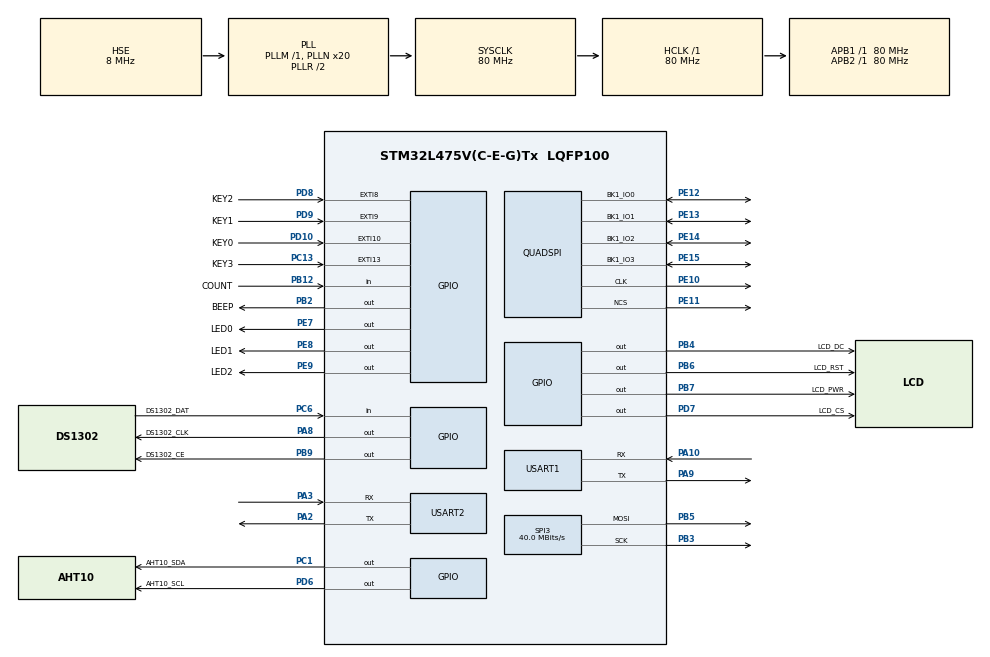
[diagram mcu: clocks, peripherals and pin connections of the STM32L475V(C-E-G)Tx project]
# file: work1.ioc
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FREERTOS.Tasks01=processInformat,0,128,processInformation,Default,NULL,Dynamic,NULL,NULL;countMed,-3,128,countMedicine,Default,NULL,Dynamic,NULL,NULL;StatusReport,-3,128,STM32_StatusReport,Default,NULL,Dynamic,NULL,NULL;time,-3,128,showTime,Default,NULL,Dynamic,NULL,NULL
Mcu.Family=STM32L4
Mcu.Name=STM32L475V(C-E-G)Tx
Mcu.Package=LQFP100
NVIC.EXTI15_10_IRQn=true\:5\:0\:false\:false\:true\:true\:true\:true
NVIC.EXTI9_5_IRQn=true\:5\:0\:false\:false\:true\:true\:true\:true
NVIC.PriorityGroup=NVIC_PRIORITYGROUP_4
NVIC.TIM1_UP_TIM16_IRQn=true\:15\:0\:false\:false\:true\:false\:false\:true
NVIC.TimeBase=TIM1_UP_TIM16_IRQn
NVIC.TimeBaseIP=TIM1
NVIC.USART1_IRQn=true\:5\:0\:false\:false\:true\:true\:true\:true
NVIC.USART2_IRQn=true\:5\:0\:false\:false\:true\:true\:true\:true
PA10.Mode=Asynchronous
PA10.Signal=USART1_RX
PA13\ (JTMS-SWDIO).Mode=Serial_Wire
PA13\ (JTMS-SWDIO).Signal=SYS_JTMS-SWDIO
PA14\ (JTCK-SWCLK).Mode=Serial_Wire
PA14\ (JTCK-SWCLK).Signal=SYS_JTCK-SWCLK
PA2.Mode=Asynchronous
PA2.Signal=USART2_TX
PA3.Mode=Asynchronous
PA3.Signal=USART2_RX
PA8.GPIO_Label=DS1302_CLK
PA8.GPIO_Speed=GPIO_SPEED_FREQ_HIGH
PA8.Signal=GPIO_Output
PA9.Mode=Asynchronous
PA9.Signal=USART1_TX
PB12.GPIO_Label=COUNT
PB12.GPIO_PuPd=GPIO_PULLDOWN
PB12.Signal=GPIO_Input
PB2.GPIO_Label=BEEP
PB2.GPIO_PuPd=GPIO_PULLDOWN
PB2.Signal=GPIO_Output
PB3\ (JTDO-TRACESWO).Mode=TX_Only_Simplex_Unidirect_Master
PB3\ (JTDO-TRACESWO).Signal=SPI3_SCK
PB4\ (NJTRST).GPIO_Label=LCD_DC
PB4\ (NJTRST).Signal=GPIO_Output
PB5.Mode=TX_Only_Simplex_Unidirect_Master
PB5.Signal=SPI3_MOSI
PB6.GPIO_Label=LCD_RST
PB6.Signal=GPIO_Output
PB7.GPIO_Label=LCD_PWR
PB7.Signal=GPIO_Output
PB9.GPIO_Label=DS1302_CE
PB9.GPIO_Speed=GPIO_SPEED_FREQ_HIGH
PB9.Signal=GPIO_Output
PC1.GPIO_Label=AHT10_SDA
PC1.Signal=GPIO_Output
PC13.GPIO_Label=KEY3
PC13.GPIO_ModeDefaultEXTI=GPIO_MODE_IT_FALLING
PC13.Signal=GPXTI13
PC6.GPIO_Label=DS1302_DAT
PC6.Signal=GPIO_Input
PD10.GPIO_Label=KEY0
PD10.GPIO_ModeDefaultEXTI=GPIO_MODE_IT_FALLING
PD10.Signal=GPXTI10
PD6.GPIO_Label=AHT10_SCL
PD6.Signal=GPIO_Output
PD7.GPIO_Label=LCD_CS
PD7.Signal=GPIO_Output
PD8.GPIO_Label=KEY2
PD8.GPIO_ModeDefaultEXTI=GPIO_MODE_IT_FALLING
PD8.Signal=GPXTI8
PD9.GPIO_Label=KEY1
PD9.GPIO_ModeDefaultEXTI=GPIO_MODE_IT_FALLING
PD9.Signal=GPXTI9
PE10.Mode=Single Bank
PE10.Signal=QUADSPI_CLK
PE11.Mode=Single Bank
PE11.Signal=QUADSPI_NCS
PE12.Mode=Single Bank
PE12.Signal=QUADSPI_BK1_IO0
PE13.Mode=Single Bank
PE13.Signal=QUADSPI_BK1_IO1
PE14.Mode=Single Bank
PE14.Signal=QUADSPI_BK1_IO2
PE15.Mode=Single Bank
PE15.Signal=QUADSPI_BK1_IO3
PE7.GPIO_Label=LED0
PE7.GPIO_Speed=GPIO_SPEED_FREQ_MEDIUM
PE7.PinState=GPIO_PIN_SET
PE7.Signal=GPIO_Output
PE8.GPIO_Label=LED1
PE8.GPIO_Speed=GPIO_SPEED_FREQ_MEDIUM
PE8.PinState=GPIO_PIN_SET
PE8.Signal=GPIO_Output
PE9.GPIO_Label=LED2
PE9.GPIO_Speed=GPIO_SPEED_FREQ_MEDIUM
PE9.PinState=GPIO_PIN_SET
PE9.Signal=GPIO_Output
PH0-OSC_IN\ (PH0).Mode=HSE-External-Oscillator
PH0-OSC_IN\ (PH0).Signal=RCC_OSC_IN
PH1-OSC_OUT\ (PH1).Mode=HSE-External-Oscillator
PH1-OSC_OUT\ (PH1).Signal=RCC_OSC_OUT
ProjectManager.HeapSize=0xA00
ProjectManager.StackSize=0xA00
ProjectManager.TargetToolchain=MDK-ARM V5.32
QUADSPI.ChipSelectHighTime-Single\ Bank=QSPI_CS_HIGH_TIME_4_CYCLE
QUADSPI.ClockPrescaler-Single\ Bank=0
QUADSPI.FifoThreshold-Single\ Bank=4
QUADSPI.SampleShifting-Single\ Bank=QSPI_SAMPLE_SHIFTING_HALFCYCLE
RCC.ADCFreq_Value=32000000
RCC.AHBFreq_Value=80000000
RCC.APB1Freq_Value=80000000
RCC.APB1TimFreq_Value=80000000
RCC.APB2Freq_Value=80000000
RCC.APB2TimFreq_Value=80000000
RCC.CortexFreq_Value=80000000
RCC.HCLKFreq_Value=80000000
RCC.HSE_VALUE=8000000
RCC.HSI_VALUE=16000000
RCC.LSE_VALUE=32768
RCC.MSI_VALUE=4000000
RCC.PLLN=20
RCC.PLLSourceVirtual=RCC_PLLSOURCE_HSE
RCC.RTCClockSelection=RCC_RTCCLKSOURCE_LSE
RCC.SYSCLKFreq_VALUE=80000000
RCC.SYSCLKSource=RCC_SYSCLKSOURCE_PLLCLK
RCC.USBFreq_Value=32000000
RCC.VCOOutputFreq_Value=160000000
SPI3.CLKPhase=SPI_PHASE_2EDGE
SPI3.CLKPolarity=SPI_POLARITY_HIGH
SPI3.CalculateBaudRate=40.0 MBits/s
SPI3.DataSize=SPI_DATASIZE_8BIT
SPI3.Direction=SPI_DIRECTION_2LINES
SPI3.Mode=SPI_MODE_MASTER
SPI3.VirtualType=VM_MASTER
USART1.VirtualMode-Asynchronous=VM_ASYNC
USART2.VirtualMode-Asynchronous=VM_ASYNC
VP_FREERTOS_VS_CMSIS_V1.Mode=CMSIS_V1
VP_SYS_VS_tim1.Mode=TIM1
board=custom

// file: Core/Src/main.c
/* USER CODE BEGIN Header */
/**
  ******************************************************************************
  * @file           : main.c
  * @brief          : Main program body
  ******************************************************************************
  * @attention
  *
  * <h2><center>&copy; Copyright (c) 2022 STMicroelectronics.
  * All rights reserved.</center></h2>
  *
  * This software component is licensed by ST under BSD 3-Clause license,
  * the "License"; You may not use this file except in compliance with the
  * License. You may obtain a copy of the License at:
  *                        opensource.org/licenses/BSD-3-Clause
  *
  ******************************************************************************
  */
/* USER CODE END Header */
#include "main.h"
#include "cmsis_os.h"
#include "quadspi.h"
#include "spi.h"
#include "usart.h"
#include "gpio.h"

/* USER CODE BEGIN Includes */
#include <stdio.h>
#include "lcd.h"
#include "w25qxx.h"
#include "stmflash.h"
#include "AHT10.h"
#include "esp8266.h"
#include "iot_aliyun.h"
#include "deel_mqtt.h"
#include "iot_emqx.h"
#include "ds1302.h"
/* USER CODE END Includes */

/* USER CODE BEGIN PTD */

u8 medAll=0;

/* USER CODE END PTD */

/* USER CODE BEGIN PV */
extern u8 esp8266_txbuf[1024];
/* USER CODE END PV */

void SystemClock_Config(void);
void MX_FREERTOS_Init(void);
/* USER CODE BEGIN PFP */
//int countMedicine(void);

/* USER CODE END PFP */

int main(void)
{

  /* MCU Configuration--------------------------------------------------------*/

  /* Reset of all peripherals, Initializes the Flash interface and the Systick. */
  HAL_Init();

  /* Configure the system clock */
  SystemClock_Config();

  /* Initialize all configured peripherals */
  MX_GPIO_Init();
  MX_SPI3_Init();
  MX_USART1_UART_Init();
  MX_USART2_UART_Init();
  MX_QUADSPI_Init();
  /* USER CODE BEGIN 2 */
	LCD_Init();
	AHT10_Init();

	ds1302_write_gpio_init();				        //初始化默认的GPIO
  DS1302_init();									//DS1302写入初始值，否则无法正常工作
	ds1302_read_time();
	printf("read time %d%d%c%d%d%c%d%d  %d%d%c%d%d%c%d%d\r\n",data_time.label2[0],data_time.label2[1],data_time.label2[2],data_time.label2[3],data_time.label2[4],data_time.label2[5],data_time.label2[6],data_time.label2[7],data_time.label2[8],data_time.label2[9],data_time.label2[10],data_time.label2[11],data_time.label2[12],data_time.label2[13],data_time.label2[14],data_time.label2[15]);

	disableKey();

	Net_Init();

  /* USER CODE END 2 */

  /* Call init function for freertos objects (in freertos.c) */
  MX_FREERTOS_Init();
  /* Start scheduler */
  osKernelStart();

  /* We should never get here as control is now taken by the scheduler */
  /* Infinite loop */
  /* USER CODE BEGIN WHILE */

	/*if(MQTT_Connect(ALI_CLIENTID, ALI_USARNAME, ALI_PASSWD) != 0)
		{
			printf("ESP8266阿里云MQTT登陆成功！\r\n");
		}
		else {printf("error");}

		if(MQTT_SubscribeTopic(ALI_SUBSCRIBE_TOPIC,0,1) != 0)
		{
			printf("ESP8266阿里云MQTT订阅主题成功！\r\n");
		}
		else{printf("error");}*/

  while (1)
  {
    /* USER CODE END WHILE */

    /* USER CODE BEGIN 3 */
		//STM32AHT11_StatusReport();
		/*if(esp8266_cnt)
		{
			deal_MQTT_message(esp8266_buf,esp8266_cnt);
			ESP8266_Clear();
		}*/

		HAL_Delay(20);

	}
  /* USER CODE END 3 */
}

void SystemClock_Config(void)
{
  RCC_OscInitTypeDef RCC_OscInitStruct = {0};
  RCC_ClkInitTypeDef RCC_ClkInitStruct = {0};

  /** Configure the main internal regulator output voltage
  */
  if (HAL_PWREx_ControlVoltageScaling(PWR_REGULATOR_VOLTAGE_SCALE1) != HAL_OK)
  {
    Error_Handler();
  }
  /** Initializes the RCC Oscillators according to the specified parameters
  * in the RCC_OscInitTypeDef structure.
  */
  RCC_OscInitStruct.OscillatorType = RCC_OSCILLATORTYPE_HSE;
  RCC_OscInitStruct.HSEState = RCC_HSE_ON;
  RCC_OscInitStruct.PLL.PLLState = RCC_PLL_ON;
  RCC_OscInitStruct.PLL.PLLSource = RCC_PLLSOURCE_HSE;
  RCC_OscInitStruct.PLL.PLLM = 1;
  RCC_OscInitStruct.PLL.PLLN = 20;
  RCC_OscInitStruct.PLL.PLLP = RCC_PLLP_DIV7;
  RCC_OscInitStruct.PLL.PLLQ = RCC_PLLQ_DIV2;
  RCC_OscInitStruct.PLL.PLLR = RCC_PLLR_DIV2;
  if (HAL_RCC_OscConfig(&RCC_OscInitStruct) != HAL_OK)
  {
    Error_Handler();
  }
  /** Initializes the CPU, AHB and APB buses clocks
  */
  RCC_ClkInitStruct.ClockType = RCC_CLOCKTYPE_HCLK|RCC_CLOCKTYPE_SYSCLK
                              |RCC_CLOCKTYPE_PCLK1|RCC_CLOCKTYPE_PCLK2;
  RCC_ClkInitStruct.SYSCLKSource = RCC_SYSCLKSOURCE_PLLCLK;
  RCC_ClkInitStruct.AHBCLKDivider = RCC_SYSCLK_DIV1;
  RCC_ClkInitStruct.APB1CLKDivider = RCC_HCLK_DIV1;
  RCC_ClkInitStruct.APB2CLKDivider = RCC_HCLK_DIV1;

  if (HAL_RCC_ClockConfig(&RCC_ClkInitStruct, FLASH_LATENCY_4) != HAL_OK)
  {
    Error_Handler();
  }
}

/* USER CODE BEGIN 4 */

void enableKey(void)
{
	GPIO_InitTypeDef GPIO_InitStruct = {0};
  __HAL_RCC_GPIOD_CLK_ENABLE();
	  /*Configure GPIO pins : PDPin PDPin PDPin */
  GPIO_InitStruct.Pin = KEY2_Pin;
  GPIO_InitStruct.Mode = GPIO_MODE_IT_FALLING;
  GPIO_InitStruct.Pull = GPIO_NOPULL;
  HAL_GPIO_Init(GPIOD, &GPIO_InitStruct);
	HAL_NVIC_SetPriority(EXTI9_5_IRQn, 5, 0);
  HAL_NVIC_EnableIRQ(EXTI9_5_IRQn);
}

void disableKey(void)
{
	GPIO_InitTypeDef GPIO_InitStruct = {0};
  __HAL_RCC_GPIOD_CLK_ENABLE();
	  /*Configure GPIO pins : PDPin PDPin PDPin */
  GPIO_InitStruct.Pin = KEY2_Pin;
  GPIO_InitStruct.Mode = GPIO_MODE_INPUT;
  GPIO_InitStruct.Pull = GPIO_NOPULL;
  HAL_GPIO_Init(GPIOD, &GPIO_InitStruct);
	HAL_NVIC_DisableIRQ(EXTI9_5_IRQn);
}

void HAL_GPIO_EXTI_Callback(uint16_t GPIO_Pin){

    if(GPIO_Pin == KEY0_Pin)
		{
      HAL_GPIO_TogglePin(LED0_GPIO_Port,LED0_Pin);
		}
    if(GPIO_Pin == KEY1_Pin)
		{
      HAL_GPIO_TogglePin(LED1_GPIO_Port,LED1_Pin);

    }
    if(GPIO_Pin == KEY2_Pin)
		{
      HAL_GPIO_TogglePin(LED2_GPIO_Port,LED2_Pin);

    }
		if(GPIO_Pin == KEY3_Pin)
		{
			HAL_GPIO_WritePin(LED2_GPIO_Port,LED2_Pin,1);
			HAL_GPIO_WritePin(LED1_GPIO_Port,LED1_Pin,1);
			HAL_GPIO_WritePin(LED0_GPIO_Port,LED0_Pin,1);
		}

}

/* USER CODE END 4 */

void HAL_TIM_PeriodElapsedCallback(TIM_HandleTypeDef *htim)
{
  if (htim->Instance == TIM1) {
    HAL_IncTick();
  }
}

void Error_Handler(void)
{
  __disable_irq();
  while (1)
  {
  }
}

/************************ (C) COPYRIGHT STMicroelectronics *****END OF FILE****/

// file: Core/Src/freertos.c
/* USER CODE BEGIN Header */
/**
  ******************************************************************************
  * File Name          : freertos.c
  * Description        : Code for freertos applications
  ******************************************************************************
  * @attention
  *
  * <h2><center>&copy; Copyright (c) 2022 STMicroelectronics.
  * All rights reserved.</center></h2>
  *
  * This software component is licensed by ST under Ultimate Liberty license
  * SLA0044, the "License"; You may not use this file except in compliance with
  * the License. You may obtain a copy of the License at:
  *                             www.st.com/SLA0044
  *
  ******************************************************************************
  */
/* USER CODE END Header */

#include "FreeRTOS.h"
#include "task.h"
#include "main.h"
#include "cmsis_os.h"

/* USER CODE BEGIN Includes */
#include "iot_aliyun.h"
#include "iot_emqx.h"
#include "esp8266.h"
#include "usart.h"
#include <stdio.h>
#include <string.h>
#include "stdlib.h"
#include "AHT10.h"
#include "lcd.h"
#include "w25qxx.h"
#include "stmflash.h"
#include "ds1302.h"
/* USER CODE END Includes */

/* USER CODE BEGIN PTD */
u16 med=0;
char *medName;
extern u8 medAll;
u16 medNum=0;
u16 medFreq=0;
u16 medTimes=0;
char mqtt_heart[300];	//MQTT的上报消息缓存
extern uint8_t temperature;
extern uint8_t humidity;
char countMed[64];

extern u8 TEXT_Buffer[];
extern int size_rom;
u8 ct1_hour;
u8 ct1_minute;
u8 ct2_hour;
u8 ct2_minute;
u8 ct3_hour;
u8 ct3_minute;

char med_AllMessage[300];	//MQTT的上报消息缓存

/* USER CODE END PTD */

osThreadId processInformatHandle;
osThreadId countMedHandle;
osThreadId StatusReportHandle;
osThreadId timeHandle;

void processInformation(void const * argument);
void countMedicine(void const * argument);
void STM32_StatusReport(void const * argument);
void showTime(void const * argument);

void MX_FREERTOS_Init(void); /* (MISRA C 2004 rule 8.1) */

/* GetIdleTaskMemory prototype (linked to static allocation support) */
void vApplicationGetIdleTaskMemory( StaticTask_t **ppxIdleTaskTCBBuffer, StackType_t **ppxIdleTaskStackBuffer, uint32_t *pulIdleTaskStackSize );

/* USER CODE BEGIN GET_IDLE_TASK_MEMORY */
static StaticTask_t xIdleTaskTCBBuffer;
static StackType_t xIdleStack[configMINIMAL_STACK_SIZE];

void vApplicationGetIdleTaskMemory( StaticTask_t **ppxIdleTaskTCBBuffer, StackType_t **ppxIdleTaskStackBuffer, uint32_t *pulIdleTaskStackSize )
{
  *ppxIdleTaskTCBBuffer = &xIdleTaskTCBBuffer;
  *ppxIdleTaskStackBuffer = &xIdleStack[0];
  *pulIdleTaskStackSize = configMINIMAL_STACK_SIZE;
  /* place for user code */
}
/* USER CODE END GET_IDLE_TASK_MEMORY */

void MX_FREERTOS_Init(void) {

  /* Create the thread(s) */
  /* definition and creation of processInformat */
  osThreadDef(processInformat, processInformation, osPriorityNormal, 0, 128);
  processInformatHandle = osThreadCreate(osThread(processInformat), NULL);

  /* definition and creation of countMed */
  osThreadDef(countMed, countMedicine, osPriorityIdle, 0, 128);
  countMedHandle = osThreadCreate(osThread(countMed), NULL);

  /* definition and creation of StatusReport */
  osThreadDef(StatusReport, STM32_StatusReport, osPriorityIdle, 0, 128);
  StatusReportHandle = osThreadCreate(osThread(StatusReport), NULL);

  /* definition and creation of time */
  osThreadDef(time, showTime, osPriorityIdle, 0, 128);
  timeHandle = osThreadCreate(osThread(time), NULL);

}

void processInformation(void const * argument)
{
  /* USER CODE BEGIN processInformation */
  /* Infinite loop */
  for(;;)
  {
   if(esp8266_cnt)
		{
			printf("接收到数据为：");
			EMQX_RevPro(esp8266_buf);
			ESP8266_Clear();
		}
    osDelay(100);
  }
  /* USER CODE END processInformation */
}

void countMedicine(void const * argument)
{
  /* USER CODE BEGIN countMedicine */
  /* Infinite loop */
  for(;;)
  {
		LCD_ShowNum(20+110,170, medAll, 3, 32);
		if(medAll<=0)
		{
			LED0(1);
		}
		else if(medAll>0)
		{
			LED0(0);
		}
		while(HAL_GPIO_ReadPin(COUNT_GPIO_Port,COUNT_Pin)==1)
		{

			if(HAL_GPIO_ReadPin(COUNT_GPIO_Port,COUNT_Pin)==0)
			{
				osDelay(15);
				med++;
				sprintf(countMed,"Number of Medicine:%d \r\n",med);
				HAL_UART_Transmit(&huart1,(u8*)countMed,strlen(countMed),HAL_MAX_DELAY);

				if(medAll>0)
				{
					medAll--;
					if(med==medNum)
					{
						printf("stop\r\n");
						//停止吐药函数
						//失能吐药按键
						disableKey();
						sprintf(med_AllMessage,"{\"medicine\": %d}",medAll);
						EMQX_Publish(EMQX_PUBLISH_MSG,med_AllMessage);
						EMQX_Publish(EMQX_PUBLISH_MSG,"{\"WorkState\":1}");
					}
					sprintf(TEXT_Buffer,"%d",medAll);
					W25QXX_Write((u8*)TEXT_Buffer, FLASH_Buf_Address, size_rom);

				}
				else if(medAll<=0)
				{
					medAll = 0;
					LED0(1);
					EMQX_Publish(EMQX_PUBLISH_ERR,"{\"Err\":\"Empty\"}");
				}
			}
		}

  }
  /* USER CODE END countMedicine */
}

void STM32_StatusReport(void const * argument)
{
  /* USER CODE BEGIN STM32_StatusReport */
  /* Infinite loop */
  for(;;)
  {

		//获取温湿度信息
    temperature = AHT10_Read_Temperature();

	//上报一次数据
	sprintf(mqtt_heart,
	"{\"Temperature\":%.1f,\
		\"MedicineCount\":%d}",
	(float)temperature,
		medAll
	);
	//MQTT_PublishData(ALI_PUBLISH_TOPIC,mqtt_message,0);
	EMQX_Publish(EMQX_PUBLISH_HEART,mqtt_heart);
	ESP8266_Clear();

  osDelay(59000);			//心跳59s发送一次
  }
  /* USER CODE END STM32_StatusReport */
}

void showTime(void const * argument)
{
  /* USER CODE BEGIN showTime */
	char curTime[30];
	int curHour;
	int curMinute;
	int curSecond;

  /* Infinite loop */
  for(;;)
  {
		ds1302_read_time();
		printf("time %d%d%c%d%d%c%d%d  %d%d%c%d%d%c%d%d\r\n",data_time.label2[0],data_time.label2[1],data_time.label2[2],data_time.label2[3],data_time.label2[4],data_time.label2[5],data_time.label2[6],data_time.label2[7],data_time.label2[8],data_time.label2[9],data_time.label2[10],data_time.label2[11],data_time.label2[12],data_time.label2[13],data_time.label2[14],data_time.label2[15]);
		sprintf(curTime,"%d%d",data_time.label2[8],data_time.label2[9]);
		curHour = atoi(curTime);
		sprintf(curTime,"%d%d",data_time.label2[11],data_time.label2[12]);
		curMinute = atoi(curTime);
		sprintf(curTime,"%d%d",data_time.label2[14],data_time.label2[15]);
		curSecond = atoi(curTime);

		if(medTimes==1)
		{
			if(curHour==ct1_hour)
			{
				if(curMinute==ct1_minute)
				{
					printf("enable");
					enableKey();
				}
			}
		}
		if(medTimes==2)
		{
			if(curHour==ct1_hour)
			{
				if(curMinute==ct1_minute)
				{
					printf("enable");
					enableKey();
				}
			}
			if(curHour==ct2_hour)
			{
				if(curMinute==ct2_minute)
				{
					printf("enable");
					enableKey();
				}
			}
		}
		if(medTimes==3)
		{
			if(curHour==ct1_hour)
			{
				if(curMinute==ct1_minute)
				{
					printf("enable");
					enableKey();
				}
			}
			if(curHour==ct2_hour)
			{
				if(curMinute==ct2_minute)
				{
					printf("enable");
					enableKey();
				}
			}
			if(curHour==ct3_hour)
			{
				if(curMinute==ct3_minute)
				{
					printf("enable");
					enableKey();
				}
			}

		}
    osDelay(1000);
  }
  /* USER CODE END showTime */
}

/************************ (C) COPYRIGHT STMicroelectronics *****END OF FILE****/
